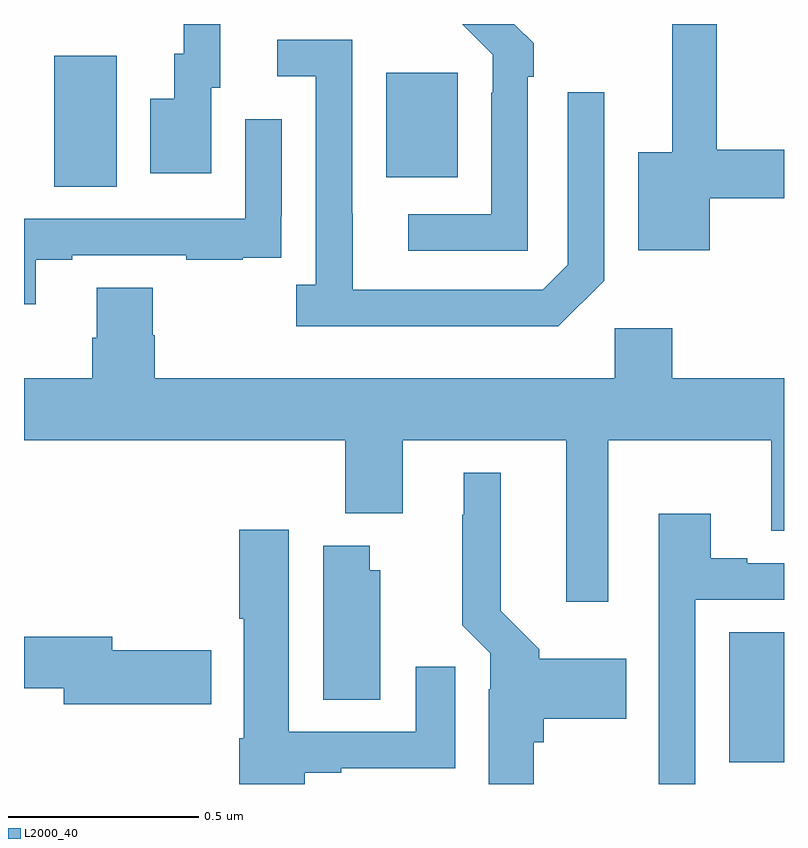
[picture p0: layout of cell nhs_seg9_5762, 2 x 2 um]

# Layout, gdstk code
import gdstk
lib = gdstk.Library(unit=1e-6, precision=1e-09)
def R(c, l, rs):  # rectangles x0, y0, x1, y1
    for r in rs: c.add(gdstk.rectangle(r[:2], r[2:], *l))
def P(c, l, *ps):  # polygons
    for p in ps: c.add(gdstk.Polygon(p, *l))
L2000_40 = (2000, 40)

nhs_seg9_5762 = lib.new_cell('nhs_seg9_5762')
R(nhs_seg9_5762, L2000_40, [(184.856,1211.557,185,1211.9), (183.08,1213.072,183.244,1213.416), (183.953,1213.097,184.141,1213.372)])
P(nhs_seg9_5762, L2000_40, [(184.326,1213.361),(184.341,1213.361),(184.341,1213.449),(184.29,1213.5),(184.153,1213.5),(184.233,1213.419),(184.233,1213.319),(184.23,1213.319),(184.23,1212.999),(184.011,1212.999),(184.011,1212.903),(184.326,1212.903)],
  [(183.493,1213.332),(183.517,1213.332),(183.517,1213.5),(183.42,1213.5),(183.42,1213.422),(183.395,1213.422),(183.395,1213.303),(183.332,1213.303),(183.332,1213.107),(183.493,1213.107)],
  [(184.804,1213.041),(185,1213.041),(185,1213.169),(184.823,1213.169),(184.823,1213.5),(184.706,1213.5),(184.706,1213.162),(184.616,1213.162),(184.616,1212.905),(184.804,1212.905)],
  [(184.527,1212.825),(184.527,1213.321),(184.431,1213.321),(184.431,1212.867),(184.365,1212.801),(183.865,1212.801),(183.865,1213.001),(183.864,1213.001),(183.864,1213.458),(183.666,1213.458),(183.666,1213.362),(183.768,1213.362),(183.768,1212.814),(183.717,1212.814),(183.717,1212.704),(184.406,1212.704)],
  [(183.031,1212.879),(183.127,1212.879),(183.127,1212.891),(183.427,1212.891),(183.427,1212.879),(183.575,1212.879),(183.575,1212.885),(183.677,1212.885),(183.677,1212.994),(183.678,1212.994),(183.678,1213.249),(183.582,1213.249),(183.582,1212.987),(183,1212.987),(183,1212.762),(183.031,1212.762)],
  [(184.537,1212.404),(184.967,1212.404),(184.967,1212.166),(185,1212.166),(185,1212.568),(184.706,1212.568),(184.706,1212.7),(184.554,1212.7),(184.554,1212.568),(183.344,1212.568),(183.344,1212.681),(183.339,1212.681),(183.339,1212.806),(183.191,1212.806),(183.191,1212.674),(183.179,1212.674),(183.179,1212.568),(183,1212.568),(183,1212.404),(183.845,1212.404),(183.845,1212.212),(183.997,1212.212),(183.997,1212.404),(184.427,1212.404),(184.427,1211.979),(184.537,1211.979)],
  [(184.342,1211.61),(184.368,1211.61),(184.368,1211.672),(184.585,1211.672),(184.585,1211.83),(184.356,1211.83),(184.356,1211.854),(184.255,1211.956),(184.255,1212.319),(184.157,1212.319),(184.157,1212.209),(184.153,1212.209),(184.153,1211.918),(184.227,1211.844),(184.227,1211.75),(184.223,1211.75),(184.223,1211.5),(184.342,1211.5)],
  [(184.767,1211.985),(185,1211.985),(185,1212.081),(184.903,1212.081),(184.903,1212.094),(184.807,1212.094),(184.807,1212.211),(184.67,1212.211),(184.67,1211.988),(184.671,1211.988),(184.671,1211.576),(184.67,1211.576),(184.67,1211.5),(184.767,1211.5)],
  [(183.739,1211.529),(183.835,1211.529),(183.835,1211.541),(184.135,1211.541),(184.135,1211.809),(184.031,1211.809),(184.031,1211.637),(183.697,1211.637),(183.697,1212.169),(183.566,1212.169),(183.566,1211.935),(183.578,1211.935),(183.578,1211.621),(183.566,1211.621),(183.566,1211.5),(183.739,1211.5)],
  [(183.937,1212.063),(183.91,1212.063),(183.91,1212.127),(183.788,1212.127),(183.788,1211.722),(183.937,1211.722)],
  [(183.493,1211.852),(183.232,1211.852),(183.232,1211.888),(183,1211.888),(183,1211.752),(183.104,1211.752),(183.104,1211.71),(183.493,1211.71)])

lib.write_gds('nhs_seg9_5762.gds')
